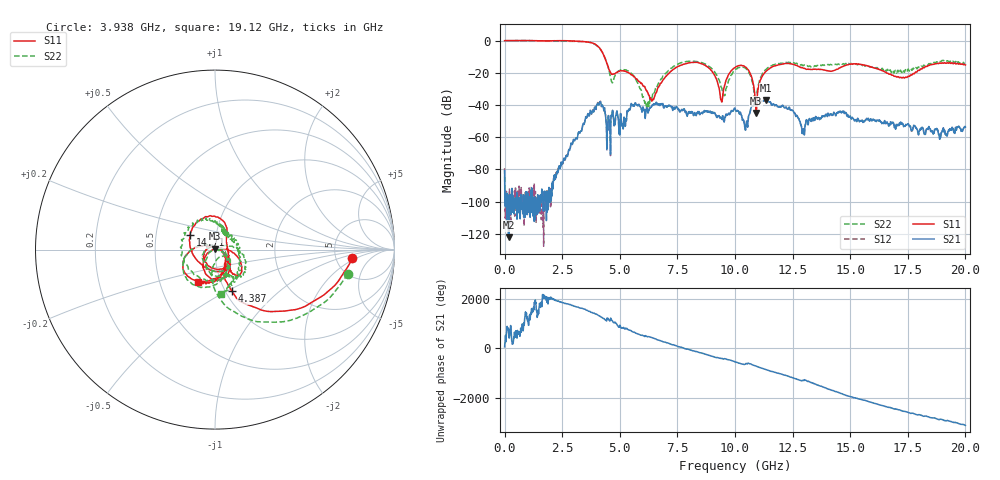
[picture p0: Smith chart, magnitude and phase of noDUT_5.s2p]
#  HZ  S  RI  R  50.00
! Rohde & Schwarz Vector Network Analyzer
! Rohde-Schwarz,ZNB20-2Port,1311601062102128,3.60
! Created: UTC 4/29/2024, 3:50:01 PM
! freq[Hz]  re:S11  im:S11  re:S21  im:S21  re:S12  im:S12  re:S22  im:S22
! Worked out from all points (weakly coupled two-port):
!   2007 points, 100 kHz to 20 GHz, reference 50 ohm
!   highest |S21| = -37.10 dB at 11.34 GHz (marker M1); lowest = -122.3 dB at 169.6 MHz (marker M2)
!   lowest |S11| = -45.0 dB at 10.93 GHz (marker M3), VSWR 1.01, Z = 50.1 + j0.545 ohm
!   |S11| at or under -10 dB: 4.333 GHz to end of sweep
!   |S22| runs from -42.8 to 0.1 dB; largest |S21 - S12| = 0.00084
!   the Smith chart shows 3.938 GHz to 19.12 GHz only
!   S11 on the Smith chart (normalised r, x): 3.938 GHz: 7.18, -1.60; 4.387 GHz: 1.07, -0.53; 14.71 GHz: 0.75, +0.13; 19.12 GHz: 0.78, -0.29
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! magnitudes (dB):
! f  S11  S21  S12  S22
! 100 kHz  0.0  -80.8  -79.3  0.1
! 169.6 MHz  0.0  -122.3  -106.9  0.0
! 2.333 GHz  0.0  -80.8  -79.4  -0.3
! 3.34 GHz  -0.6  -56.4  -56.1  -0.6
! 3.938 GHz  -2.3  -41.4  -40.9  -2.5
! 4.387 GHz  -12.1  -47.6  -47.4  -11.8
! 4.666 GHz  -21.0  -44.6  -44.7  -25.9
! 5.533 GHz  -21.4  -40.3  -40.2  -21.0
! 6.182 GHz  -31.3  -42.6  -42.7  -42.8
! 6.67 GHz  -28.9  -39.4  -39.4  -26.6
! 8.345 GHz  -13.5  -45.0  -44.9  -13.0
! 9.422 GHz  -38.2  -48.5  -48.4  -29.5
! 10 GHz  -16.7  -42.1  -42.1  -18.4
! 10.47 GHz  -16.5  -54.5  -54.7  -17.3
! 10.93 GHz  -45.0  -38.5  -38.5  -38.0
! 11.34 GHz  -19.2  -37.1  -37.1  -18.0
! 12.94 GHz  -16.9  -56.1  -56.0  -15.5
! 13.34 GHz  -17.9  -48.4  -48.4  -15.8
! 14.71 GHz  -15.9  -43.7  -43.6  -14.3
! 16.67 GHz  -20.7  -52.9  -53.1  -19.4
! 19.12 GHz  -13.9  -58.0  -58.2  -12.1
! 20 GHz  -15.2  -53.7  -53.8  -14.4
